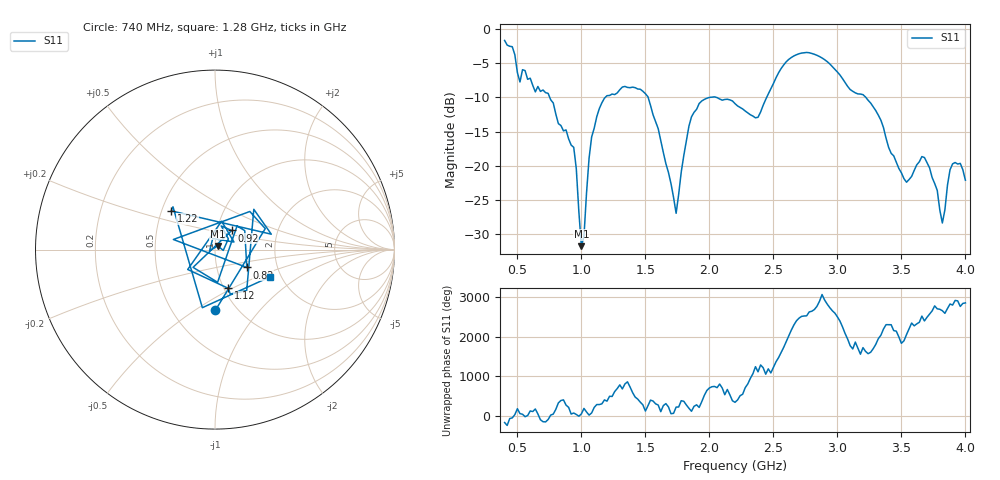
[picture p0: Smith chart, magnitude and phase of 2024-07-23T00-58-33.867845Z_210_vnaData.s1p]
!Created with skrf (http://scikit-rf.org).
# Hz S RI R 50.0
!freq ReS11 ImS11
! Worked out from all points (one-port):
!   181 points, 400 MHz to 4 GHz, reference 50 ohm
!   lowest |S11| = -31.8 dB at 1 GHz (marker M1), VSWR 1.05, Z = 51.5 + j2.14 ohm
!   |S11| at or under -10 dB: 752.4 MHz to 1.187 GHz (434.5 MHz wide, 44.8 % of centre); 1.521 GHz to 2.005 GHz (484 MHz wide, 27.4 % of centre); 3.222 GHz to end of sweep (the widest 3 of 4)
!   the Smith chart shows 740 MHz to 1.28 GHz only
!   S11 on the Smith chart (normalised r, x): 740 MHz: 0.80, -0.61; 820 MHz: 1.40, -0.29; 920 MHz: 1.18, +0.26; 1.12 GHz: 1.05, -0.48; 1.22 GHz: 0.56, +0.27; 1.28 GHz: 1.74, -0.60
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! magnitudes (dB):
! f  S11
! 400 MHz  -1.7
! 520 MHz  -7.8
! 740 MHz  -9.4
! 820 MHz  -13.8
! 860 MHz  -14.9
! 920 MHz  -17.0
! 960 MHz  -20.4
! 1 GHz  -31.8
! 1.02 GHz  -30.3
! 1.06 GHz  -18.9
! 1.12 GHz  -12.8
! 1.22 GHz  -9.7
! 1.28 GHz  -9.4
! 1.3 GHz  -8.9
! 1.52 GHz  -9.9
! 1.74 GHz  -27.0
! 1.76 GHz  -24.2
! 1.84 GHz  -14.2
! 1.92 GHz  -10.9
! 2.2 GHz  -10.9
! 2.38 GHz  -12.9
! 2.66 GHz  -3.9
! 3.1 GHz  -8.9
! 3.56 GHz  -22.0
! 3.68 GHz  -18.8
! 3.82 GHz  -28.4
! 3.9 GHz  -19.7
! 4 GHz  -22.1
